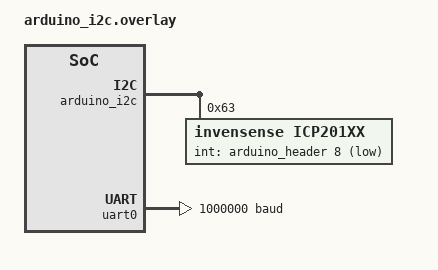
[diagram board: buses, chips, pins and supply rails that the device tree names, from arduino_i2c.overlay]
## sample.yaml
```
sample:
  name: ICP201XX Sensor fifo interrupt
tests:
  sample.sensor.icp201xx.fifo_interrupt:
    build_only: true
    depends_on: i2c
    tags: sensors
    integration_platforms:
      - nrf52dk/nrf52832
    platform_exclude:
      - tdk_robokit1
```

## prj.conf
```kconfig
#
# Copyright (c) 2024 TDK Invensense
#
# SPDX-License-Identifier: Apache-2.0
#

CONFIG_SENSOR=y

# Floating point format support
# Selecting this increases stack size requirements slightly, but increases code size significantly.
CONFIG_CBPRINTF_FP_SUPPORT=y

# Buffer size for console. The defaults are optimized to save RAM
CONFIG_CONSOLE_SUBSYS=y
CONFIG_CONSOLE_GETCHAR=y
CONFIG_CONSOLE_GETCHAR_BUFSIZE=16
CONFIG_CONSOLE_PUTCHAR_BUFSIZE=512
```

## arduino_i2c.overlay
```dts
/*
 * Copyright (c) 2024, TDK Invensense
 *
 * SPDX-License-Identifier: Apache-2.0
 */

/*
 * Example configuration of a icp201xx device on an Arduino I2C bus.
 *
 * Device address 0x63 is assumed. Your device may have a different
 * address; check your device documentation if unsure.
 */
&arduino_i2c {
	status = "okay";
	icp201xx@63 {
		compatible = "invensense,icp201xx";
		reg = <0x63>;
		int-gpios = <&arduino_header 8 GPIO_ACTIVE_LOW>; /* D2 */
	};
};

/*
 * Increase native UART speed to report sensor data.
 */
&uart0 {
	compatible = "nordic,nrf-uarte";
	status = "okay";
	current-speed = <1000000>;
};
```

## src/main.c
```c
/*
 * Copyright (c) 2024 TDK Invensense
 *
 * SPDX-License-Identifier: Apache-2.0
 */

#include <zephyr/kernel.h>
#include <zephyr/device.h>
#include <zephyr/devicetree.h>
#include <zephyr/drivers/sensor.h>
#include <stdio.h>
#include <zephyr/logging/log.h>

static struct sensor_trigger data_trigger;

LOG_MODULE_REGISTER(ICP201XX_SAMPLE, CONFIG_SENSOR_LOG_LEVEL);

/*
 * Get a device structure from a devicetree node with compatible
 * "invensense,icm101xx". (If there are multiple, just pick one.)
 */
static const struct device *get_icp201xx_device(void)
{
	const struct device *const dev = DEVICE_DT_GET_ANY(invensense_icp201xx);

	if (dev == NULL) {
		/* No such node, or the node does not have status "okay". */
		printk("\nError: no device found.\n");
		return NULL;
	}

	if (!device_is_ready(dev)) {
		printk("\nError: Device \"%s\" is not ready; "
		       "check the driver initialization logs for errors.\n",
		       dev->name);
		return NULL;
	}

	printk("Found device \"%s\", getting sensor data\n", dev->name);
	return dev;
}

static void handle_icp201xx(const struct device *dev, const struct sensor_trigger *trig)
{

	if (trig->type == SENSOR_TRIG_DATA_READY) {
		int rc = sensor_sample_fetch_chan(dev, trig->chan);

		if (rc < 0) {
			printf("sample fetch failed: %d\n", rc);
			printf("cancelling trigger\n");
			(void)sensor_trigger_set(dev, trig, NULL);
			return;
		} else if (rc == 0) {

			struct sensor_value pressure;
			struct sensor_value temperature;
			struct sensor_value altitude;

			sensor_channel_get(dev, SENSOR_CHAN_PRESS, &pressure);
			sensor_channel_get(dev, SENSOR_CHAN_AMBIENT_TEMP, &temperature);
			sensor_channel_get(dev, SENSOR_CHAN_ALTITUDE, &altitude);

			LOG_INF("temp %.2f Cel, pressure %f kPa, altitude %f m",
				sensor_value_to_double(&temperature),
				sensor_value_to_double(&pressure),
				sensor_value_to_double(&altitude));
		}
	}
}

int main(void)
{
	const struct device *dev = get_icp201xx_device();

	if (dev == NULL) {
		return 0;
	}
	data_trigger = (struct sensor_trigger){
		.type = SENSOR_TRIG_DATA_READY,
		.chan = SENSOR_CHAN_ALL,
	};
	if (sensor_trigger_set(dev, &data_trigger, handle_icp201xx) < 0) {
		printf("Cannot configure data trigger!!!\n");
		return 0;
	}
	LOG_INF("Starting ICP201xx fifo interrupt sample.\n");

	return 0;
}
```
